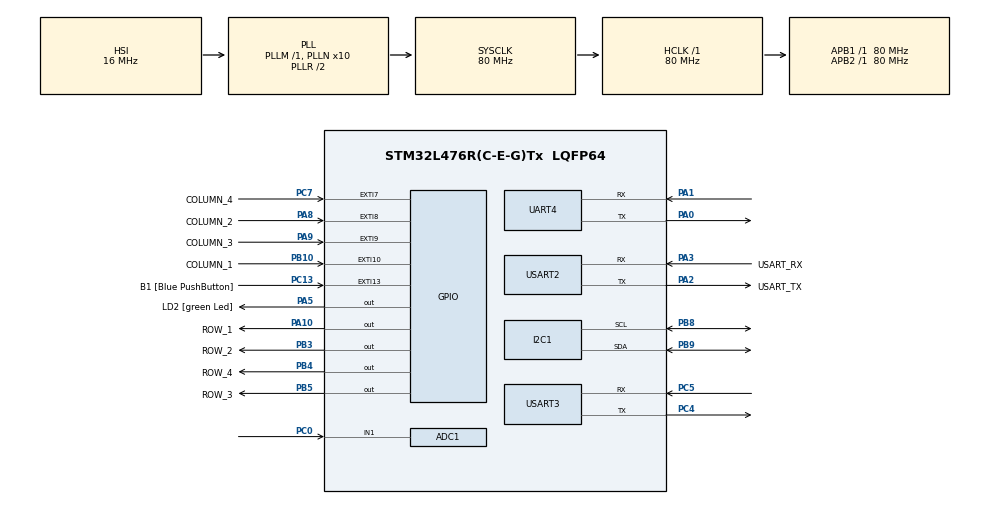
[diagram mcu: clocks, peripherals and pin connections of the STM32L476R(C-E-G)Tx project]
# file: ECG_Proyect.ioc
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ADC1.Channel-0\#ChannelRegularConversion=ADC_CHANNEL_1
ADC1.NbrOfConversionFlag=1
ADC1.OffsetNumber-0\#ChannelRegularConversion=ADC_OFFSET_NONE
ADC1.Rank-0\#ChannelRegularConversion=1
ADC1.SamplingTime-0\#ChannelRegularConversion=ADC_SAMPLETIME_12CYCLES_5
ADC1.master=1
Dma.Request0=USART3_RX
Dma.USART3_RX.0.Direction=DMA_PERIPH_TO_MEMORY
Dma.USART3_RX.0.Instance=DMA1_Channel3
Dma.USART3_RX.0.MemDataAlignment=DMA_MDATAALIGN_BYTE
Dma.USART3_RX.0.MemInc=DMA_MINC_ENABLE
Dma.USART3_RX.0.Mode=DMA_NORMAL
Dma.USART3_RX.0.PeriphDataAlignment=DMA_PDATAALIGN_BYTE
Dma.USART3_RX.0.PeriphInc=DMA_PINC_DISABLE
Dma.USART3_RX.0.Priority=DMA_PRIORITY_LOW
I2C1.Timing=0x10909CEC
Mcu.Family=STM32L4
Mcu.Name=STM32L476R(C-E-G)Tx
Mcu.Package=LQFP64
NVIC.ADC1_2_IRQn=true\:0\:0\:false\:false\:true\:true\:true\:true
NVIC.DMA1_Channel3_IRQn=true\:0\:0\:false\:false\:true\:false\:true\:true
NVIC.EXTI15_10_IRQn=true\:0\:0\:false\:false\:true\:true\:true\:true
NVIC.EXTI9_5_IRQn=true\:0\:0\:false\:false\:true\:true\:true\:true
NVIC.PriorityGroup=NVIC_PRIORITYGROUP_4
NVIC.USART3_IRQn=true\:0\:0\:false\:false\:true\:true\:true\:true
PA0.Mode=Asynchronous
PA0.Signal=UART4_TX
PA1.Mode=Asynchronous
PA1.Signal=UART4_RX
PA10.GPIO_Label=ROW_1
PA10.Signal=GPIO_Output
PA13\ (JTMS-SWDIO).GPIO_Label=TMS
PA13\ (JTMS-SWDIO).Mode=Serial_Wire
PA13\ (JTMS-SWDIO).Signal=SYS_JTMS-SWDIO
PA14\ (JTCK-SWCLK).GPIO_Label=TCK
PA14\ (JTCK-SWCLK).Mode=Serial_Wire
PA14\ (JTCK-SWCLK).Signal=SYS_JTCK-SWCLK
PA2.GPIO_Label=USART_TX
PA2.GPIO_Mode=GPIO_MODE_AF_PP
PA2.GPIO_PuPd=GPIO_NOPULL
PA2.GPIO_Speed=GPIO_SPEED_FREQ_VERY_HIGH
PA2.Mode=Asynchronous
PA2.Signal=USART2_TX
PA3.GPIO_Label=USART_RX
PA3.GPIO_Mode=GPIO_MODE_AF_PP
PA3.GPIO_PuPd=GPIO_NOPULL
PA3.GPIO_Speed=GPIO_SPEED_FREQ_VERY_HIGH
PA3.Mode=Asynchronous
PA3.Signal=USART2_RX
PA5.GPIO_Label=LD2 [green Led]
PA5.GPIO_ModeDefaultOutputPP=GPIO_MODE_OUTPUT_PP
PA5.GPIO_PuPd=GPIO_NOPULL
PA5.GPIO_Speed=GPIO_SPEED_FREQ_LOW
PA5.Signal=GPIO_Output
PA8.GPIO_Label=COLUMN_2
PA8.Signal=GPXTI8
PA9.GPIO_Label=COLUMN_3
PA9.Signal=GPXTI9
PB10.GPIO_Label=COLUMN_1
PB10.Signal=GPXTI10
PB3\ (JTDO-TRACESWO).GPIO_Label=ROW_2
PB3\ (JTDO-TRACESWO).Signal=GPIO_Output
PB4\ (NJTRST).GPIO_Label=ROW_4
PB4\ (NJTRST).Signal=GPIO_Output
PB5.GPIO_Label=ROW_3
PB5.Signal=GPIO_Output
PB8.Mode=I2C
PB8.Signal=I2C1_SCL
PB9.Mode=I2C
PB9.Signal=I2C1_SDA
PC0.Signal=ADCx_IN1
PC13.GPIO_Label=B1 [Blue PushButton]
PC13.GPIO_ModeDefaultEXTI=GPIO_MODE_IT_FALLING
PC13.GPIO_PuPd=GPIO_NOPULL
PC13.Signal=GPXTI13
PC14-OSC32_IN\ (PC14).Mode=LSE-External-Oscillator
PC14-OSC32_IN\ (PC14).Signal=RCC_OSC32_IN
PC15-OSC32_OUT\ (PC15).Mode=LSE-External-Oscillator
PC15-OSC32_OUT\ (PC15).Signal=RCC_OSC32_OUT
PC4.Mode=Asynchronous
PC4.Signal=USART3_TX
PC5.Mode=Asynchronous
PC5.Signal=USART3_RX
PC7.GPIO_Label=COLUMN_4
PC7.Signal=GPXTI7
PH0-OSC_IN\ (PH0).Signal=RCC_OSC_IN
PH1-OSC_OUT\ (PH1).Signal=RCC_OSC_OUT
ProjectManager.HeapSize=0x200
ProjectManager.StackSize=0x400
ProjectManager.TargetToolchain=STM32CubeIDE
RCC.ADCFreq_Value=64000000
RCC.AHBFreq_Value=80000000
RCC.APB1Freq_Value=80000000
RCC.APB1TimFreq_Value=80000000
RCC.APB2Freq_Value=80000000
RCC.APB2TimFreq_Value=80000000
RCC.CortexFreq_Value=80000000
RCC.HCLKFreq_Value=80000000
RCC.HSE_VALUE=8000000
RCC.HSI_VALUE=16000000
RCC.MSI_VALUE=4000000
RCC.PLLN=10
RCC.PLLSourceVirtual=RCC_PLLSOURCE_HSI
RCC.PREFETCH_ENABLE=1
RCC.SYSCLKFreq_VALUE=80000000
RCC.SYSCLKSource=RCC_SYSCLKSOURCE_PLLCLK
RCC.USBFreq_Value=64000000
RCC.VCOOutputFreq_Value=160000000
SH.ADCx_IN1.0=ADC1_IN1,IN1-Single-Ended
USART2.VirtualMode-Asynchronous=VM_ASYNC
USART3.VirtualMode-Asynchronous=VM_ASYNC
board=NUCLEO-L476RG

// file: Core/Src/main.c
/* USER CODE BEGIN Header */
/**
  ******************************************************************************
  * @file           : main.c
  * @brief          : Main program body
  ******************************************************************************
  * @attention
  *
  * Copyright (c) 2023 STMicroelectronics.
  * All rights reserved.
  *
  * This software is licensed under terms that can be found in the LICENSE file
  * in the root directory of this software component.
  * If no LICENSE file comes with this software, it is provided AS-IS.
  *
  ******************************************************************************
  */
/* USER CODE END Header */
#include "main.h"

/* USER CODE BEGIN Includes */
#include <stdio.h>
#include <string.h>
/* Include adc library*/
#include "adc.h"
/*Include library ring_buffer*/
#include "ring_buffer.h"
/*Include library ssd1306*/
#include "ssd1306.h"
#include "ssd1306_fonts.h"
/*Include Library keyboard hexadecimal*/
#include "keypad.h"
/*Include GUI library */
#include "gui.h"
/* USER CODE END Includes */

ADC_HandleTypeDef hadc1;

I2C_HandleTypeDef hi2c1;

UART_HandleTypeDef huart4;
UART_HandleTypeDef huart2;
UART_HandleTypeDef huart3;
DMA_HandleTypeDef hdma_usart3_rx;

/* USER CODE BEGIN PV */
// Global variables for ADC, BPM, and threshold
uint16_t adc=0;
uint16_t BPM=0;
uint16_t treshold = 1800;

// Variables related to UART reception and BPM and ADC messages
uint8_t byteRecibido;
uint8_t receivedDigits[3];
uint8_t digitIndex = 0;
uint8_t age;
int gender = M;
char bpm_msg[20];
char adc_msg[20];

uint8_t cont = 0;

// Volatile variable for keypad event to prevent compiler optimization
volatile uint16_t key_event = 0xFF; // this var shall be volatile so the compiler does not remove it

// Ring buffer for keypad input
ring_buffer_t ring_buffer_keypad;
uint8_t keypad_buffer[10];
uint8_t key_pressed=0xFF;// Define the variable for reader of the key pressed
/* USER CODE END PV */

void SystemClock_Config(void);
static void MX_GPIO_Init(void);
static void MX_DMA_Init(void);
static void MX_USART2_UART_Init(void);
static void MX_I2C1_Init(void);
static void MX_USART3_UART_Init(void);
static void MX_ADC1_Init(void);
static void MX_UART4_Init(void);

/* USER CODE BEGIN 0 */

int _write(int file, char *ptr, int len)
{
	HAL_UART_Transmit(&huart2, (uint8_t*)ptr, len, HAL_MAX_DELAY);
	return len;
}

/**
  * @brief Callback called when UART data reception is completed.
  * @param huart: Structure containing UART configuration.
  * @retval None
  */
void HAL_UART_RxCpltCallback(UART_HandleTypeDef *huart) {

	// Store the received key in the ring buffer
	ring_buffer_put(&ring_buffer_keypad, key_pressed);

    if (huart->Instance == USART3) {
    	// Check if the newline delimiter is received
        if (byteRecibido == '\n') {
        	// Convert the received digits into a number
            uint8_t number = 0;
            for (int i = 0; i < digitIndex; i++) {
                number = number * 10 + (receivedDigits[i] - '0');
                age = number;
            }

            // Reset the index for the next number
            digitIndex = 0;
        } else if (digitIndex < 3) {
        	// Store the received digit
            receivedDigits[digitIndex++] = byteRecibido;
        }

        // Prepare to receive the next byte
        HAL_UART_Receive_IT(&huart3, &byteRecibido, 1);

    }
}
/**
  * @brief Callback called when an external interrupt (EXTI) line is detected.
  * @param GPIO_Pin: Specifies the port pin connected to the corresponding EXTI line.
  * @retval None
  */
void HAL_GPIO_EXTI_Callback(uint16_t GPIO_Pin)
{
	// Update the key event when an external interrupt is detected
	key_event = GPIO_Pin;
}

/**
  * @brief Validates a sequence of key presses stored in the ring buffer.
  * @retval None
  */
void validate_sequence(void)
{
	// Print a message indicating the start of validation
	printf("Validating\r\n");

	// Initialize an array to store the key sequence
	uint8_t sequence[10];

	// Retrieve keys from the ring buffer and store them in the sequence array
	for (uint8_t idx = 0; idx < 11; idx++) {
	  ring_buffer_get(&ring_buffer_keypad, &sequence[idx]);
	}
	HAL_UART_Transmit(&huart3, sequence, 10, HAL_MAX_DELAY);
}
/* USER CODE END 0 */

int main(void)
{

  /* MCU Configuration--------------------------------------------------------*/

  /* Reset of all peripherals, Initializes the Flash interface and the Systick. */
  HAL_Init();

  /* Configure the system clock */
  SystemClock_Config();

  /* Initialize all configured peripherals */
  MX_GPIO_Init();
  MX_DMA_Init();
  MX_USART2_UART_Init();
  MX_I2C1_Init();
  MX_USART3_UART_Init();
  MX_ADC1_Init();
  MX_UART4_Init();
  /* USER CODE BEGIN 2 */
  // Asynchronous reception of a single byte using UART3
  HAL_UART_Receive_IT(&huart3, &byteRecibido, 1);

  // Initialize a ring buffer for keypad input
  ring_buffer_init(&ring_buffer_keypad, keypad_buffer, 10);

  // OLED Display Initialization
  ssd1306_Init();
  ssd1306_Fill(Black);
  ssd1306_SetCursor(20, 20);
  ssd1306_WriteString("Welcome", Font_11x18, White);
  ssd1306_UpdateScreen();
  HAL_Delay(500);

  keypad_init(); // Initialize the keypad functionality

 // Initialize actions for ecg module.
  typedef enum {
       ACCION_1,
       ACCION_2,
       ACCION_3
   } Estado;

   uint32_t start_time = 0;
   Estado actual_state = ACCION_1;
   start_time = HAL_GetTick();

  /* USER CODE END 2 */

  /* Infinite loop */
  /* USER CODE BEGIN WHILE */
  printf("Waiting ID...\r\n");
  while (1)
  {
  	  if(cont==0){
		   // This block executes if the variable 'cont' is 0.
          // It checks for a pending keyboard event.
		  if (key_event != 0xFF) { // check if there is a event from the EXTi callback
			   key_pressed = keypad_handler(key_event); // call the keypad handler
			  if (key_pressed != 0xFF) {
				  printf("Key pressed: %c\r\n", key_pressed); // print the key pressed
				  // Put the pressed key into the ring buffer
				  ring_buffer_put(&ring_buffer_keypad, key_pressed);
			  }
			  // Check if the ring buffer is full
			  if (ring_buffer_is_full(&ring_buffer_keypad) != 0) {

					// Validate the sequence of key presses
				  validate_sequence();
				  cont=1;
			 }
				 key_event = 0xFF; // clean the event
		  }
  	  }
  	  else{
  	  // ADC Reading
  	  adc = init_adc(&hadc1); // adc reading

  	  if (adc > treshold){ // checks if there is a beat
  		  BPM = calculateBPM();// Calculate BPM
  		  sprintf(bpm_msg, "BPM: %hu\r\n", BPM);  // Message BPM
  		  // Transmit the BPM message with UART2
  		  HAL_UART_Transmit(&huart2, (uint8_t*)bpm_msg, strlen(bpm_msg), HAL_MAX_DELAY);
  	  }
  	  // Format ADC value message
  	  sprintf(adc_msg, "%hu\r\n", adc);  // #Message value adc
  	  // Transmit the ADC value with UART3 to the ESP module
  	  HAL_UART_Transmit(&huart3, (uint8_t*)adc_msg, strlen(adc_msg), HAL_MAX_DELAY);
      // Verificar si ha pasado el tiempo para la acción actual
      if ((HAL_GetTick() - start_time) >= 3000) {
          // Actualizar el estado y reiniciar el contador para los próximos 3 segundos
          start_time = HAL_GetTick();

          // Executes actions depending on the 'actual_state'.
          switch (actual_state) {
              case ACCION_1:
            	  print_Gender_Age(gender,age);
                  actual_state = ACCION_2;
                  break;
              case ACCION_2:
                  print_BPM(BPM);
                  actual_state = ACCION_3;
                  break;
              case ACCION_3:
                  print_Result(age, BPM, gender);
                  actual_state = ACCION_1;
                  break;
              default:
            	  // If the state is none of the above, displays a waiting message.
            	  ssd1306_Fill(Black);
            	  ssd1306_SetCursor(0, 0);
            	  ssd1306_WriteString("WAITING...", Font_11x18, White);
            	  ssd1306_UpdateScreen();
                  break;
          }
      }

	  HAL_Delay(100);
  	  }

    /* USER CODE END WHILE */

  }
}

void SystemClock_Config(void)
{
  RCC_OscInitTypeDef RCC_OscInitStruct = {0};
  RCC_ClkInitTypeDef RCC_ClkInitStruct = {0};

  /** Configure the main internal regulator output voltage
  */
  if (HAL_PWREx_ControlVoltageScaling(PWR_REGULATOR_VOLTAGE_SCALE1) != HAL_OK)
  {
    Error_Handler();
  }

  /** Initializes the RCC Oscillators according to the specified parameters
  * in the RCC_OscInitTypeDef structure.
  */
  RCC_OscInitStruct.OscillatorType = RCC_OSCILLATORTYPE_HSI;
  RCC_OscInitStruct.HSIState = RCC_HSI_ON;
  RCC_OscInitStruct.HSICalibrationValue = RCC_HSICALIBRATION_DEFAULT;
  RCC_OscInitStruct.PLL.PLLState = RCC_PLL_ON;
  RCC_OscInitStruct.PLL.PLLSource = RCC_PLLSOURCE_HSI;
  RCC_OscInitStruct.PLL.PLLM = 1;
  RCC_OscInitStruct.PLL.PLLN = 10;
  RCC_OscInitStruct.PLL.PLLP = RCC_PLLP_DIV7;
  RCC_OscInitStruct.PLL.PLLQ = RCC_PLLQ_DIV2;
  RCC_OscInitStruct.PLL.PLLR = RCC_PLLR_DIV2;
  if (HAL_RCC_OscConfig(&RCC_OscInitStruct) != HAL_OK)
  {
    Error_Handler();
  }

  /** Initializes the CPU, AHB and APB buses clocks
  */
  RCC_ClkInitStruct.ClockType = RCC_CLOCKTYPE_HCLK|RCC_CLOCKTYPE_SYSCLK
                              |RCC_CLOCKTYPE_PCLK1|RCC_CLOCKTYPE_PCLK2;
  RCC_ClkInitStruct.SYSCLKSource = RCC_SYSCLKSOURCE_PLLCLK;
  RCC_ClkInitStruct.AHBCLKDivider = RCC_SYSCLK_DIV1;
  RCC_ClkInitStruct.APB1CLKDivider = RCC_HCLK_DIV1;
  RCC_ClkInitStruct.APB2CLKDivider = RCC_HCLK_DIV1;

  if (HAL_RCC_ClockConfig(&RCC_ClkInitStruct, FLASH_LATENCY_4) != HAL_OK)
  {
    Error_Handler();
  }
}

static void MX_ADC1_Init(void)
{

  ADC_MultiModeTypeDef multimode = {0};
  ADC_ChannelConfTypeDef sConfig = {0};

  /** Common config
  */
  hadc1.Instance = ADC1;
  hadc1.Init.ClockPrescaler = ADC_CLOCK_ASYNC_DIV1;
  hadc1.Init.Resolution = ADC_RESOLUTION_12B;
  hadc1.Init.DataAlign = ADC_DATAALIGN_RIGHT;
  hadc1.Init.ScanConvMode = ADC_SCAN_DISABLE;
  hadc1.Init.EOCSelection = ADC_EOC_SINGLE_CONV;
  hadc1.Init.LowPowerAutoWait = DISABLE;
  hadc1.Init.ContinuousConvMode = DISABLE;
  hadc1.Init.NbrOfConversion = 1;
  hadc1.Init.DiscontinuousConvMode = DISABLE;
  hadc1.Init.ExternalTrigConv = ADC_SOFTWARE_START;
  hadc1.Init.ExternalTrigConvEdge = ADC_EXTERNALTRIGCONVEDGE_NONE;
  hadc1.Init.DMAContinuousRequests = DISABLE;
  hadc1.Init.Overrun = ADC_OVR_DATA_PRESERVED;
  hadc1.Init.OversamplingMode = DISABLE;
  if (HAL_ADC_Init(&hadc1) != HAL_OK)
  {
    Error_Handler();
  }

  /** Configure the ADC multi-mode
  */
  multimode.Mode = ADC_MODE_INDEPENDENT;
  if (HAL_ADCEx_MultiModeConfigChannel(&hadc1, &multimode) != HAL_OK)
  {
    Error_Handler();
  }

  /** Configure Regular Channel
  */
  sConfig.Channel = ADC_CHANNEL_1;
  sConfig.Rank = ADC_REGULAR_RANK_1;
  sConfig.SamplingTime = ADC_SAMPLETIME_12CYCLES_5;
  sConfig.SingleDiff = ADC_SINGLE_ENDED;
  sConfig.OffsetNumber = ADC_OFFSET_NONE;
  sConfig.Offset = 0;
  if (HAL_ADC_ConfigChannel(&hadc1, &sConfig) != HAL_OK)
  {
    Error_Handler();
  }

}

static void MX_I2C1_Init(void)
{

  hi2c1.Instance = I2C1;
  hi2c1.Init.Timing = 0x10909CEC;
  hi2c1.Init.OwnAddress1 = 0;
  hi2c1.Init.AddressingMode = I2C_ADDRESSINGMODE_7BIT;
  hi2c1.Init.DualAddressMode = I2C_DUALADDRESS_DISABLE;
  hi2c1.Init.OwnAddress2 = 0;
  hi2c1.Init.OwnAddress2Masks = I2C_OA2_NOMASK;
  hi2c1.Init.GeneralCallMode = I2C_GENERALCALL_DISABLE;
  hi2c1.Init.NoStretchMode = I2C_NOSTRETCH_DISABLE;
  if (HAL_I2C_Init(&hi2c1) != HAL_OK)
  {
    Error_Handler();
  }

  /** Configure Analogue filter
  */
  if (HAL_I2CEx_ConfigAnalogFilter(&hi2c1, I2C_ANALOGFILTER_ENABLE) != HAL_OK)
  {
    Error_Handler();
  }

  /** Configure Digital filter
  */
  if (HAL_I2CEx_ConfigDigitalFilter(&hi2c1, 0) != HAL_OK)
  {
    Error_Handler();
  }

}

static void MX_UART4_Init(void)
{

  huart4.Instance = UART4;
  huart4.Init.BaudRate = 115200;
  huart4.Init.WordLength = UART_WORDLENGTH_8B;
  huart4.Init.StopBits = UART_STOPBITS_1;
  huart4.Init.Parity = UART_PARITY_NONE;
  huart4.Init.Mode = UART_MODE_TX_RX;
  huart4.Init.HwFlowCtl = UART_HWCONTROL_NONE;
  huart4.Init.OverSampling = UART_OVERSAMPLING_16;
  huart4.Init.OneBitSampling = UART_ONE_BIT_SAMPLE_DISABLE;
  huart4.AdvancedInit.AdvFeatureInit = UART_ADVFEATURE_NO_INIT;
  if (HAL_UART_Init(&huart4) != HAL_OK)
  {
    Error_Handler();
  }

}

static void MX_USART2_UART_Init(void)
{

  huart2.Instance = USART2;
  huart2.Init.BaudRate = 115200;
  huart2.Init.WordLength = UART_WORDLENGTH_8B;
  huart2.Init.StopBits = UART_STOPBITS_1;
  huart2.Init.Parity = UART_PARITY_NONE;
  huart2.Init.Mode = UART_MODE_TX_RX;
  huart2.Init.HwFlowCtl = UART_HWCONTROL_NONE;
  huart2.Init.OverSampling = UART_OVERSAMPLING_16;
  huart2.Init.OneBitSampling = UART_ONE_BIT_SAMPLE_DISABLE;
  huart2.AdvancedInit.AdvFeatureInit = UART_ADVFEATURE_NO_INIT;
  if (HAL_UART_Init(&huart2) != HAL_OK)
  {
    Error_Handler();
  }

}

static void MX_USART3_UART_Init(void)
{

  huart3.Instance = USART3;
  huart3.Init.BaudRate = 115200;
  huart3.Init.WordLength = UART_WORDLENGTH_8B;
  huart3.Init.StopBits = UART_STOPBITS_1;
  huart3.Init.Parity = UART_PARITY_NONE;
  huart3.Init.Mode = UART_MODE_TX_RX;
  huart3.Init.HwFlowCtl = UART_HWCONTROL_NONE;
  huart3.Init.OverSampling = UART_OVERSAMPLING_16;
  huart3.Init.OneBitSampling = UART_ONE_BIT_SAMPLE_DISABLE;
  huart3.AdvancedInit.AdvFeatureInit = UART_ADVFEATURE_NO_INIT;
  if (HAL_UART_Init(&huart3) != HAL_OK)
  {
    Error_Handler();
  }

}

static void MX_DMA_Init(void)
{

  /* DMA controller clock enable */
  __HAL_RCC_DMA1_CLK_ENABLE();

  /* DMA interrupt init */
  /* DMA1_Channel3_IRQn interrupt configuration */
  HAL_NVIC_SetPriority(DMA1_Channel3_IRQn, 0, 0);
  HAL_NVIC_EnableIRQ(DMA1_Channel3_IRQn);

}

static void MX_GPIO_Init(void)
{
  GPIO_InitTypeDef GPIO_InitStruct = {0};

  /* GPIO Ports Clock Enable */
  __HAL_RCC_GPIOC_CLK_ENABLE();
  __HAL_RCC_GPIOH_CLK_ENABLE();
  __HAL_RCC_GPIOA_CLK_ENABLE();
  __HAL_RCC_GPIOB_CLK_ENABLE();

  /*Configure GPIO pin Output Level */
  HAL_GPIO_WritePin(GPIOA, LD2_Pin|ROW_1_Pin, GPIO_PIN_RESET);

  /*Configure GPIO pin Output Level */
  HAL_GPIO_WritePin(GPIOB, ROW_2_Pin|ROW_4_Pin|ROW_3_Pin, GPIO_PIN_RESET);

  /*Configure GPIO pin : B1_Pin */
  GPIO_InitStruct.Pin = B1_Pin;
  GPIO_InitStruct.Mode = GPIO_MODE_IT_FALLING;
  GPIO_InitStruct.Pull = GPIO_NOPULL;
  HAL_GPIO_Init(B1_GPIO_Port, &GPIO_InitStruct);

  /*Configure GPIO pins : LD2_Pin ROW_1_Pin */
  GPIO_InitStruct.Pin = LD2_Pin|ROW_1_Pin;
  GPIO_InitStruct.Mode = GPIO_MODE_OUTPUT_PP;
  GPIO_InitStruct.Pull = GPIO_NOPULL;
  GPIO_InitStruct.Speed = GPIO_SPEED_FREQ_LOW;
  HAL_GPIO_Init(GPIOA, &GPIO_InitStruct);

  /*Configure GPIO pin : COLUMN_1_Pin */
  GPIO_InitStruct.Pin = COLUMN_1_Pin;
  GPIO_InitStruct.Mode = GPIO_MODE_IT_RISING;
  GPIO_InitStruct.Pull = GPIO_NOPULL;
  HAL_GPIO_Init(COLUMN_1_GPIO_Port, &GPIO_InitStruct);

  /*Configure GPIO pin : COLUMN_4_Pin */
  GPIO_InitStruct.Pin = COLUMN_4_Pin;
  GPIO_InitStruct.Mode = GPIO_MODE_IT_RISING;
  GPIO_InitStruct.Pull = GPIO_NOPULL;
  HAL_GPIO_Init(COLUMN_4_GPIO_Port, &GPIO_InitStruct);

  /*Configure GPIO pins : COLUMN_2_Pin COLUMN_3_Pin */
  GPIO_InitStruct.Pin = COLUMN_2_Pin|COLUMN_3_Pin;
  GPIO_InitStruct.Mode = GPIO_MODE_IT_RISING;
  GPIO_InitStruct.Pull = GPIO_NOPULL;
  HAL_GPIO_Init(GPIOA, &GPIO_InitStruct);

  /*Configure GPIO pins : ROW_2_Pin ROW_4_Pin ROW_3_Pin */
  GPIO_InitStruct.Pin = ROW_2_Pin|ROW_4_Pin|ROW_3_Pin;
  GPIO_InitStruct.Mode = GPIO_MODE_OUTPUT_PP;
  GPIO_InitStruct.Pull = GPIO_NOPULL;
  GPIO_InitStruct.Speed = GPIO_SPEED_FREQ_LOW;
  HAL_GPIO_Init(GPIOB, &GPIO_InitStruct);

  /* EXTI interrupt init*/
  HAL_NVIC_SetPriority(EXTI9_5_IRQn, 0, 0);
  HAL_NVIC_EnableIRQ(EXTI9_5_IRQn);

  HAL_NVIC_SetPriority(EXTI15_10_IRQn, 0, 0);
  HAL_NVIC_EnableIRQ(EXTI15_10_IRQn);

}

void Error_Handler(void)
{
  __disable_irq();
  while (1)
  {
  }
}
